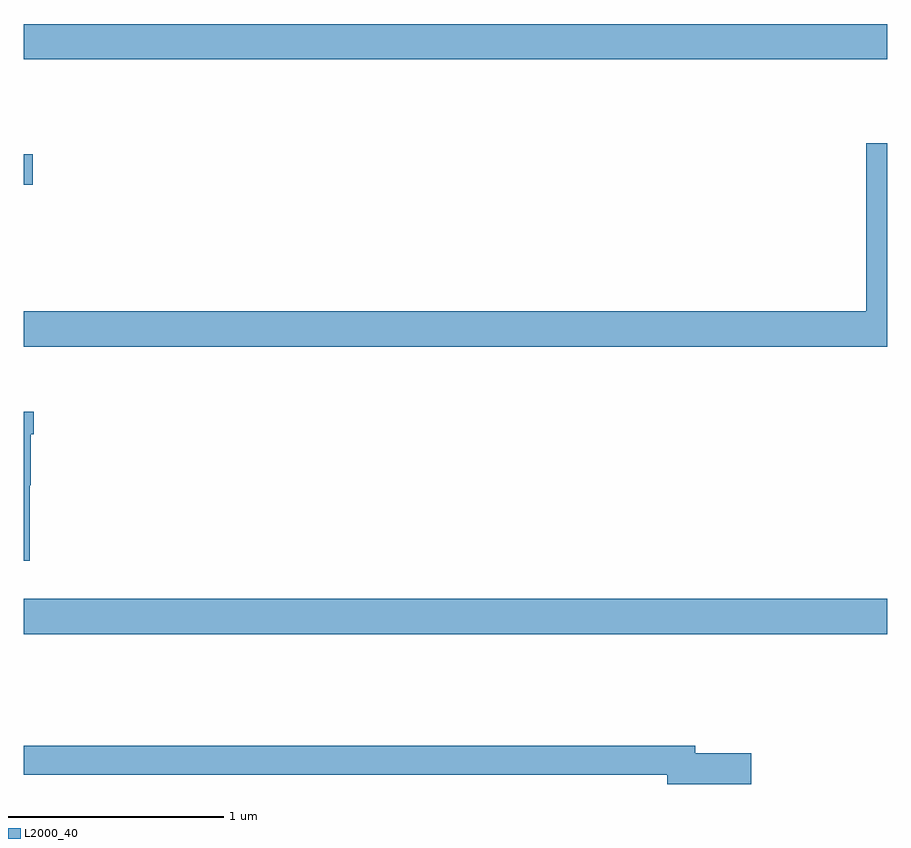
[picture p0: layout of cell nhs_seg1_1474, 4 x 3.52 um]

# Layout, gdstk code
import gdstk
lib = gdstk.Library(unit=1e-6, precision=1e-09)
def R(c, l, rs):  # rectangles x0, y0, x1, y1
    for r in rs: c.add(gdstk.rectangle(r[:2], r[2:], *l))
def P(c, l, *ps):  # polygons
    for p in ps: c.add(gdstk.Polygon(p, *l))
L2000_40 = (2000, 40)

nhs_seg1_1474 = lib.new_cell('nhs_seg1_1474')
R(nhs_seg1_1474, L2000_40, [(191,553.064,195,553.228), (191,555.146,191.041,555.288), (191,555.728,195,555.892)])
P(nhs_seg1_1474, L2000_40, [(195,555.34),(194.903,555.34),(194.903,554.56),(191,554.56),(191,554.396),(195,554.396)],
  [(191.027,553.755),(191.032,553.755),(191.032,553.991),(191.045,553.991),(191.045,554.095),(191,554.095),(191,553.404),(191.027,553.404)],
  [(194.371,552.512),(194.11,552.512),(194.11,552.548),(191,552.548),(191,552.412),(193.982,552.412),(193.982,552.37),(194.371,552.37)])

lib.write_gds('nhs_seg1_1474.gds')
